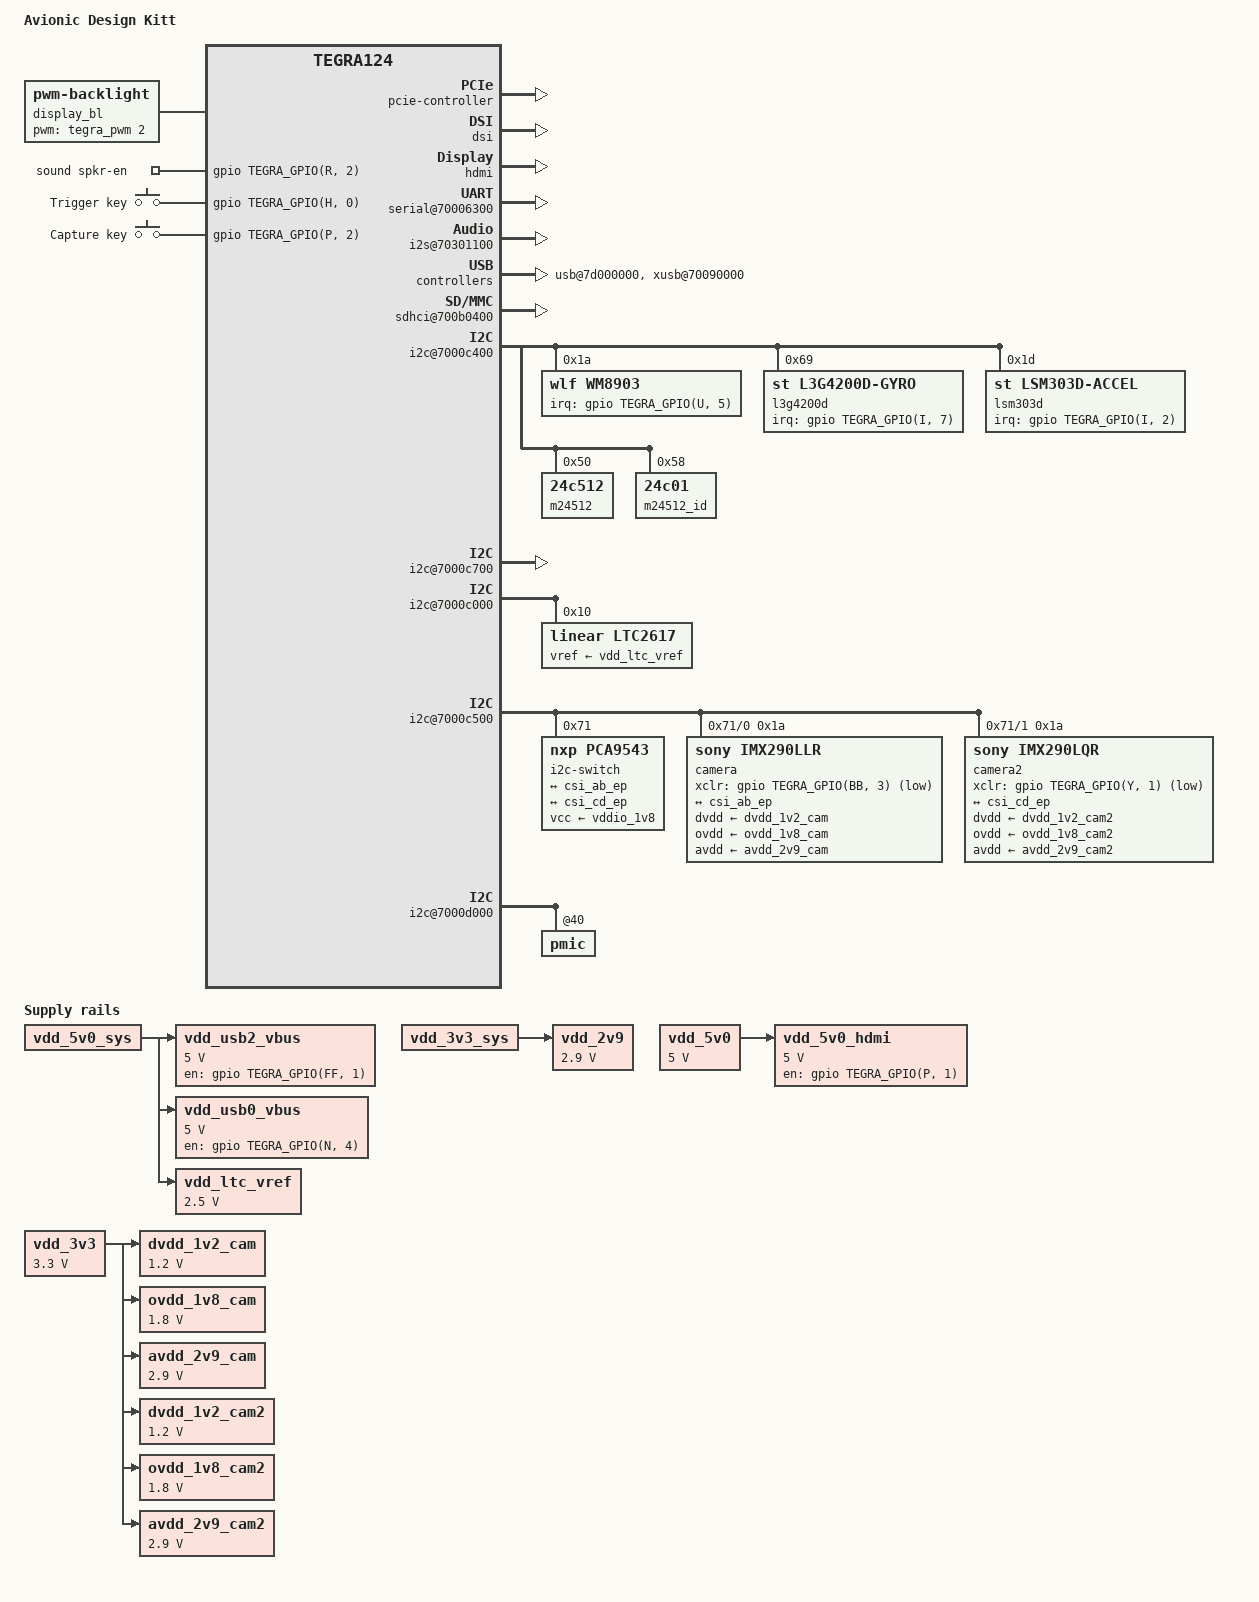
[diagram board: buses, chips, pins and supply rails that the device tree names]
/dts-v1/;

#include "tegra124-meerkat.dtsi"
#include "panel-tianma-tm057jdhp04.dtsi"

/ {
	model = "Avionic Design Kitt";
	compatible = "ad,kitt", "ad,meerkat", "nvidia,tegra124";
	nvidia,dtsfilename = __FILE__;

	pinmux {
		common {
			ph2 {
				nvidia,function = "pwm2";
				nvidia,tristate = <TEGRA_PIN_DISABLE>;
			};
			ph3 {
				nvidia,pins = "ph3";
				nvidia,pull = <TEGRA_PIN_PULL_UP>;
				nvidia,tristate = <TEGRA_PIN_DISABLE>;
			};
			pi2 {
				nvidia,enable-input = <TEGRA_PIN_ENABLE>;
				nvidia,pull = <TEGRA_PIN_PULL_DOWN>;
			};
			pi7 {
				nvidia,enable-input = <TEGRA_PIN_ENABLE>;
			};
			dap2_din_pa4 {
				nvidia,tristate = <TEGRA_PIN_DISABLE>;
			};
			dap2_dout_pa5 {
				nvidia,tristate = <TEGRA_PIN_DISABLE>;
			};
			dap2_fs_pa2 {
				nvidia,tristate = <TEGRA_PIN_DISABLE>;
			};
			dap2_sclk_pa3 {
				nvidia,tristate = <TEGRA_PIN_DISABLE>;
			};
			ulpi_stp_py3 {
				nvidia,function = "safe";
				nvidia,pull = <TEGRA_PIN_PULL_NONE>;
			};
			ulpi_nxt_py2 {
				nvidia,function = "safe";
			};
			dap3_dout_pp2 {
				nvidia,enable-input = <TEGRA_PIN_ENABLE>;
			};
		};
	};

	display_bl: backlight {
		compatible = "pwm-backlight";
		pwms = <&tegra_pwm 2 1000000>;
		brightness-levels = <0 4 8 16 32 64 128 255>;
		default-brightness-level = <7>;
	};

	pcie-controller {
		nvidia,port0_status = <1>;
		nvidia,port1_status = <1>;
		nvidia,lanes = <TEGRA_PCIE_LANES_X2_X1>;
		status = "okay";
	};

	host1x {
		dc@54200000 {
			status = "okay";

			nvidia,dc-connection = "internal-lcd";
		};

		dsi {
			nvidia,dsi-controller-vs = <DSI_VS_1>;
			status = "okay";
			panel: panel-tianma-tm057jdhp04 {
				enable-gpios = <&gpio TEGRA_GPIO(H, 3) GPIO_ACTIVE_HIGH>;
				nvidia,dsi-te-gpio = <&gpio TEGRA_GPIO(K, 0) GPIO_ACTIVE_HIGH>;
				backlight = <&display_bl>;
			};
		};

		dc@54240000 {
			status = "okay";

			nvidia,dc-connection = "external-display";
			vdd_hdmi_5v0-supply = <&vdd_5v0_hdmi>;
		};

		hdmi {
			status = "okay";
		};

		vi {
			status = "okay";
			port@0 {
				csi_ab_ep: endpoint@0 {
					remote-endpoint = <&imx290llr_1>;
				};
			};
			port@1 {
				csi_cd_ep: endpoint@0 {
					remote-endpoint = <&imx290lqr_2>;
				};
			};
		};
	};

	serial@70006300 {
		status = "okay";
	};

	ahub {
		status = "okay";
		i2s@70301100 {
			status = "okay";
		};
	};

	usb@7d000000 {
		status = "okay";
		nvidia,hotplug;
		nvidia,remote-wakeup-supported;
		nvidia,power-off-on-suspend;

		usb_vbus-supply = <&vdd_usb0_vbus>;
	};

	xusb@70090000 {
		nvidia,gpio_ss1_sata = <0>;
		nvidia,portmap = <(XUSB_MUX_USB2_P2 | XUSB_MUX_SS_P1)>;
		nvidia,ss_portmap = <XUSB_PADCTL_SS_PORTMAP(DISABLE, P2)>;
		nvidia,lane_owner = <2>; /* PCIe lane1 owner = USB3_SS port1 */
		nvidia,ulpicap = <0>;
		usb_vbus2-supply = <&vdd_usb2_vbus>;
		status = "okay";
	};

	/* On board eMMC */
	sdhci@700b0400 {
		status = "okay";
		built-in;
		cd-gpios = <>;
		wp-gpios = <>;
	};

	i2c@7000c400 {
		status = "okay";

		wm8903: wm8903@1a {
			compatible = "wlf,wm8903";
			reg = <0x1a>;
			interrupt-parent = <&gpio>;
			interrupts = <TEGRA_GPIO(U, 5) IRQ_TYPE_LEVEL_HIGH>;

			gpio-controller;
			#gpio-cells = <2>;

			micdet-cfg = <0>;
			micdet-delay = <100>;
			gpio-cfg = <0xffffffff
				    0xffffffff
				    0
				    0xffffffff
				    0xffffffff>;
		};

		l3g4200d: l3g4200d@69 {
			compatible = "st,l3g4200d-gyro";
			interrupt-parent = <&gpio>;
			interrupts = <TEGRA_GPIO(I, 7) IRQ_TYPE_LEVEL_HIGH>;
			reg = <0x69>;
		};

		lsm303d: lsm303d@1d {
			compatible = "st,lsm303d-accel";
			interrupt-parent = <&gpio>;
			interrupts = <TEGRA_GPIO(I, 2) IRQ_TYPE_LEVEL_HIGH>;
			reg = <0x1d>;
		};

		m24512: m24512@50 {
			compatible = "24c512";
			reg = <0x50>;
			pagesize = <128>;
		};

		m24512_id: m24512@58 {
			compatible = "24c01";
			reg = <0x58>;
			pagesize = <128>;
		};
	};

	/* HDMI DDC */
	i2c@7000c700 {
		status = "okay";
	};

	/* Gen1 I2C */
	i2c@7000c000 {
		status = "okay";

		ltc2617: ltc2617@10 {
			compatible = "linear,ltc2617";
			reg = <0x10>;
			vref-supply = <&vdd_ltc_vref>;
		};
	};

	/* Cam I2C */
	i2c@7000c500 {
		status = "okay";

		i2c-switch@71 {
			compatible = "nxp,pca9543";
			#address-cells = <1>;
			#size-cells = <0>;
			reg = <0x71>;
			vcc-supply = <&vddio_1v8>;

			i2c@0 {
				#address-cells = <1>;
				#size-cells = <0>;
				reg = <0>;

				 camera@1a {
					compatible = "sony,imx290llr";
					reg = <0x1a>;

					inck-name = "mclk";
					xvs-output-len = <8>;
					xclr-gpio = <&gpio TEGRA_GPIO(BB, 3) GPIO_ACTIVE_LOW>;

					dvdd-supply = <&dvdd_1v2_cam>;
					ovdd-supply = <&ovdd_1v8_cam>;
					avdd-supply = <&avdd_2v9_cam>;

					port {
						imx290llr_1: endpoint {
							remote-endpoint = <&csi_ab_ep>;
							clock-lanes = <0>;
							data-lanes = <0 1>;
						};
					};
				};
			};

			i2c@1 {
				#address-cells = <1>;
				#size-cells = <0>;
				reg = <1>;

				camera2@1a {
					compatible = "sony,imx290lqr";
					reg = <0x1a>;

					inck-name = "mclk2";
					xclr-gpio = <&gpio TEGRA_GPIO(Y, 1) GPIO_ACTIVE_LOW>;

					dvdd-supply = <&dvdd_1v2_cam2>;
					ovdd-supply = <&ovdd_1v8_cam2>;
					avdd-supply = <&avdd_2v9_cam2>;

					port {
						imx290lqr_2: endpoint {
							remote-endpoint = <&csi_cd_ep>;
							clock-lanes = <0>;
							data-lanes = <0 1 2 3>;
						};
					};
				};
			};
		};
	};

	i2c@7000d000 {
		pmic@40 {
			ams,backup-battery-chargable;
			ams,battery-backup-charge-voltage = <AS3722_BBVOLT_3_0V>;
			ams,battery-backup-charge-current = <AS3722_BBCCUR_50UA>;
			ams,battery-backup-enable-bypass;
			ams,battery-backup-charge-mode = <AS3722_BBCMODE_ACT_STBY_OFF>;
		};
	};

	hda@70030000 {
		status = "okay";
	};

	avp-audio {
		compatible = "nvidia,tegra124-avp-audio", "nvidia,tegra30-avp-audio";
	};

	audio-offload {
		compatible = "nvidia,tegra-offload";
	};

	sound {
		compatible = "ad,tegra-audio-wm8903-medcom-wide",
			     "nvidia,tegra-audio-wm8903";
		nvidia,model = "Avionic Design Meerkat WM8903";

		nvidia,audio-routing =
			"Headphone Jack", "HPOUTR",
			"Headphone Jack", "HPOUTL",
			"Int Spk", "ROP",
			"Int Spk", "RON",
			"Int Spk", "LOP",
			"Int Spk", "LON",
			"Mic Jack", "MICBIAS",
			"IN1L", "Mic Jack";

		nvidia,spkr-en-gpios = <&gpio TEGRA_GPIO(R, 2) GPIO_ACTIVE_HIGH>;

		nvidia,memory-clients = <14>;
		nvidia,i2s-controller = <&tegra_i2s1>;
		nvidia,i2s-is-master;
		nvidia,audio-codec = <&wm8903>;
	};

	gpio: gpio@6000d000 {
		gpio-init-names = "default";
		gpio-init-0 = <&gpio_default>;
		gpio_default: default {
			/* Enable Wifi antenna */
			gpio-output-high = <TEGRA_GPIO(X, 7)>;
		};
	};

	gpio-keys {
		compatible = "gpio-keys";
		pinctrl-names = "default";
		pinctrl-0 = <&pinmux_default>;
		trigger {
			label = "Trigger key";
			linux,code = <KEY_T>;
			debounce-interval = <5>;
			gpios = <&gpio TEGRA_GPIO(H, 0) GPIO_ACTIVE_HIGH>;
		};
		capture {
			label = "Capture key";
			linux,code = <KEY_C>;
			debounce-interval = <5>;
			gpios = <&gpio TEGRA_GPIO(P, 2) GPIO_ACTIVE_HIGH>;
		};
	};

	regulators {
		vdd_5v0: regulator@100 {
			compatible = "regulator-fixed";
			reg = <100>;
			regulator-name = "+VDD_5V";
			regulator-min-microvolt = <5000000>;
			regulator-max-microvolt = <5000000>;
			regulator-always-on;
			regulator-boot-on;
		};

		vdd_3v3: regulator@101 {
			compatible = "regulator-fixed";
			reg = <101>;
			regulator-name = "+VDD_3V3";
			regulator-min-microvolt = <3300000>;
			regulator-max-microvolt = <3300000>;
			regulator-always-on;
			regulator-boot-on;
		};

		vdd_usb2_vbus: regulator@102 {
			compatible = "regulator-fixed";
			reg = <102>;
			regulator-name = "+USB2_VCC";
			regulator-min-microvolt = <5000000>;
			regulator-max-microvolt = <5000000>;
			gpio = <&gpio TEGRA_GPIO(FF, 1) GPIO_ACTIVE_HIGH>;
			enable-active-high;
			gpio-open-drain;
			vin-supply = <&vdd_5v0_sys>;
		};

		vdd_2v9: regulator@103 {
			compatible = "regulator-fixed";
			reg = <103>;
			regulator-name = "+2V9";
			regulator-min-microvolt = <2900000>;
			regulator-max-microvolt = <2900000>;
			vin-supply = <&vdd_3v3_sys>;
		};

		vdd_5v0_hdmi: regulator@104 {
			compatible = "regulator-fixed";
			reg = <104>;
			regulator-name = "+5V_HDMI";
			regulator-min-microvolt = <5000000>;
			regulator-max-microvolt = <5000000>;
			vin-supply = <&vdd_5v0>;
			gpio = <&gpio TEGRA_GPIO(P, 1) GPIO_ACTIVE_HIGH>;
			enable-active-high;
		};

		vdd_usb0_vbus: regulator@105 {
			compatible = "regulator-fixed";
			reg = <105>;
			regulator-name = "+USB0_VCC";
			regulator-min-microvolt = <5000000>;
			regulator-max-microvolt = <5000000>;
			gpio = <&gpio TEGRA_GPIO(N, 4) GPIO_ACTIVE_HIGH>;
			enable-active-high;
			gpio-open-drain;
			vin-supply = <&vdd_5v0_sys>;
		};

		vdd_ltc_vref: regulator@106 {
			compatible = "regulator-fixed";
			reg = <106>;
			regulator-name = "LTC26xx VREF";
			regulator-min-microvolt = <2500000>;
			regulator-max-microvolt = <2500000>;
			vin-supply = <&vdd_5v0_sys>;
		};

		dvdd_1v2_cam: regulator@107 {
			compatible = "regulator-fixed";
			reg = <107>;
			regulator-name = "DVDD_CAM";
			regulator-min-microvolt = <1200000>;
			regulator-max-microvolt = <1200000>;
			vin-supply = <&vdd_3v3>;
		};

		ovdd_1v8_cam: regulator@108 {
			compatible = "regulator-fixed";
			reg = <108>;
			regulator-name = "OVDD";
			regulator-min-microvolt = <1800000>;
			regulator-max-microvolt = <1800000>;
			vin-supply = <&vdd_3v3>;
		};

		avdd_2v9_cam: regulator@109 {
			compatible = "regulator-fixed";
			reg = <109>;
			regulator-name = "AVDD";
			regulator-min-microvolt = <2900000>;
			regulator-max-microvolt = <2900000>;
			vin-supply = <&vdd_3v3>;
		};
		dvdd_1v2_cam2: regulator@110 {
			compatible = "regulator-fixed";
			reg = <110>;
			regulator-name = "DVDD";
			regulator-min-microvolt = <1200000>;
			regulator-max-microvolt = <1200000>;
			vin-supply = <&vdd_3v3>;
		};

		ovdd_1v8_cam2: regulator@111 {
			compatible = "regulator-fixed";
			reg = <111>;
			regulator-name = "OVDD";
			regulator-min-microvolt = <1800000>;
			regulator-max-microvolt = <1800000>;
			vin-supply = <&vdd_3v3>;
		};

		avdd_2v9_cam2: regulator@112 {
			compatible = "regulator-fixed";
			reg = <112>;
			regulator-name = "AVDD";
			regulator-min-microvolt = <2900000>;
			regulator-max-microvolt = <2900000>;
			vin-supply = <&vdd_3v3>;
		};
	};

	pwm-fan {
		status = "okay";
		pwms = <&tegra_pwm 1 40000>;
	};
};
